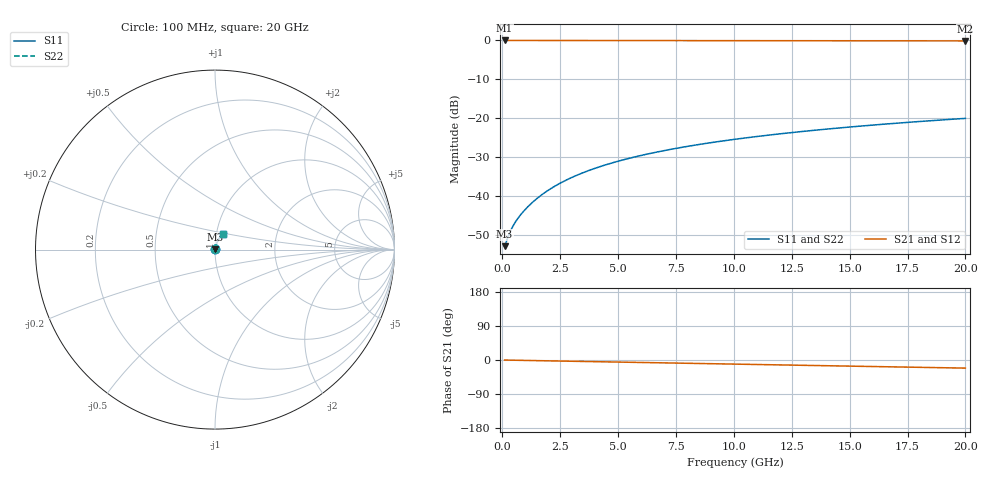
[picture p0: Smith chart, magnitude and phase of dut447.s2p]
! Touchstone file exported from HFSS 2026.1.0
!  File:  C:/ffzhzh/LocalFiles/Ansys_Project_Files/temp_train_TMRDL_447_1783005753_46388.aedt
!  Generated:  11:23:50 PM Jul  2, 2026
!  Design:  TMRDL
!  Project:  temp_train_TMRDL_447_1783005753_46388
! Variables:
!  h_bsmrdl = 2um
!  h_ox = 20um
!  h_rdl = 5um
!  h_sub = 80um
!  h_tmrdl = 3.32um
!  h_tsv = 80um
!  h_via = 3um
!  l_bsmrdl = 300um
!  l_sub = 756.4um
!  l_tmrdl = 356.4um
!  m_sub = 200um
!  pitch = 27.9um
!  r_tsv = 6um
!  s_tmrdl = 10um
!  w_bsmrdl = 18um
!  w_sub = 500um
!  w_tmrdl = 20.08um
!  x_tsv_center1 = 366.44um
!  x_tsv_center2 = 684.44um
!  x_tsv_center3 = 1060.92um
!  x_tsv_center4 = 1378.92um
!  x_tsv_center5 = 1755.4um
!  x_tsv_center6 = 2073.4um
# GHz S MA R 50.000000
! Terminal data exported
! Port[1] = TM_RDL1_1_T1
! Port[2] = TM_RDL1_1_T2
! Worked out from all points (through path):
!   200 points, 100 MHz to 20 GHz, reference 50 ohm
!   highest |S21| = -0.02 dB at 100 MHz (marker M1); lowest = -0.1 dB at 20 GHz (marker M2)
!   group delay of S21, straight-line fit = 2.97 ps
!   lowest |S11| = -52.9 dB at 100 MHz (marker M3), VSWR 1.00, Z = 50.2 + j0.0796 ohm
!   |S11| at or under -10 dB: start of sweep to end of sweep
!   |S22| runs from -52.9 to -20.0 dB; largest |S21 - S12| = 4.7e-15
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0.1  0.002271 20.4  0.9979 -0.1  0.9979 -0.1  0.002271 20.4
! Gamma 0 0 0 0
! Port Impedance 50 0 50 0
0.3  0.003268 42.0  0.9976 -0.4  0.9976 -0.4  0.003269 42.0
0.4  0.003802 47.1  0.9974 -0.5  0.9974 -0.5  0.003803 47.1
0.5  0.004314 50.8  0.9973 -0.6  0.9973 -0.6  0.004317 50.8
0.6  0.004811 53.8  0.9972 -0.7  0.9972 -0.7  0.004815 53.8
0.8  0.005789 58.5  0.9971 -0.9  0.9971 -0.9  0.005794 58.6
1  0.006775 62.2  0.997 -1.1  0.997 -1.1  0.00678 62.2
1.2  0.00778 65.0  0.9969 -1.3  0.9969 -1.3  0.007785 65.0
1.7  0.01037 69.8  0.9967 -1.9  0.9967 -1.9  0.01037 69.8
2.2  0.01302 72.4  0.9965 -2.4  0.9965 -2.4  0.01303 72.4
2.8  0.01625 74.2  0.9963 -3.1  0.9963 -3.1  0.01625 74.2
3.5  0.02002 75.2  0.996 -3.9  0.996 -3.9  0.02003 75.1
4.2  0.02378 75.5  0.9956 -4.6  0.9956 -4.6  0.02378 75.5
5  0.02803 75.4  0.9952 -5.5  0.9952 -5.5  0.02804 75.4
5.9  0.03276 75.1  0.9946 -6.5  0.9946 -6.5  0.03276 75.1
6.8  0.03741 74.5  0.9941 -7.4  0.9941 -7.4  0.03741 74.5
8.3  0.04501 73.4  0.9931 -9.1  0.9931 -9.1  0.04502 73.4
10.1  0.0539 71.9  0.9918 -11.0  0.9918 -11.0  0.05391 71.8
11.7  0.06162 70.5  0.9907 -12.7  0.9907 -12.7  0.06162 70.4
13.4  0.06966 69.0  0.9896 -14.5  0.9896 -14.5  0.06966 68.9
16.7  0.08485 66.0  0.9873 -18.0  0.9873 -18.0  0.08486 65.9
20  0.09953 62.9  0.9851 -21.4  0.9851 -21.4  0.09955 62.9
